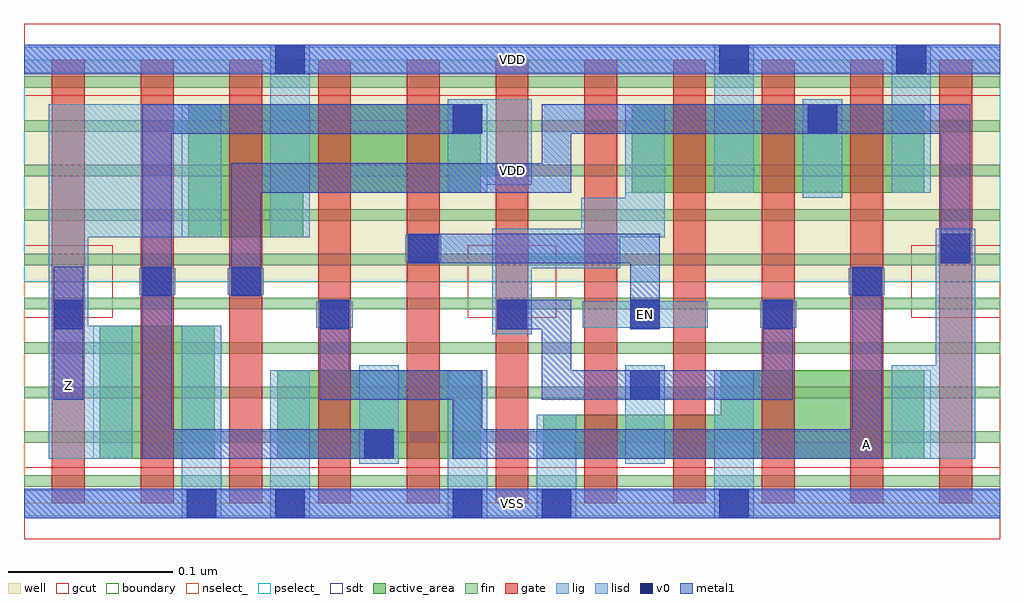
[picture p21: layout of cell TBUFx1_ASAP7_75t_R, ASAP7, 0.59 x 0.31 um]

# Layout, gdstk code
import gdstk
lib = gdstk.Library(unit=1e-6, precision=2.5e-10)
def R(c, l, rs):  # rectangles x0, y0, x1, y1
    for r in rs: c.add(gdstk.rectangle(r[:2], r[2:], *l))
def A(c, l, x, y, w, h, nx, ny, dx, dy):  # array of equal rectangles
    R(c, l, [(x+i*dx, y+j*dy, x+i*dx+w, y+j*dy+h) for i in range(nx) for j in range(ny)])
well = (1, 0)
fin = (2, 0)
gate = (7, 0)
gcut = (10, 0)
active_area = (11, 0)
nselect_ = (12, 0)
pselect_ = (13, 0)
lig = (16, 0)
lisd = (17, 0)
v0 = (18, 0)
metal1 = (19, 0)
sdt = (88, 0)
boundary = (100, 0)

tbufx1_asap7_75t_r = lib.new_cell('TBUFx1_ASAP7_75t_R')
R(tbufx1_asap7_75t_r, well, [(0,0.135,0.594,0.27)])
A(tbufx1_asap7_75t_r, fin, 0, 0.01, 0.594, 0.007, 1, 10, 0, 0.027)
A(tbufx1_asap7_75t_r, gate, 0.017, 0, 0.02, 0.27, 11, 1, 0.054, 0)
A(tbufx1_asap7_75t_r, gcut, 0, -0.022, 0.054, 0.044, 3, 3, 0.27, 0.135)
R(tbufx1_asap7_75t_r, gcut, [(0.054,-0.022,0.27,0.022), (0.324,-0.022,0.54,0.022), (0.054,0.248,0.27,0.292), (0.324,0.248,0.54,0.292)])
R(tbufx1_asap7_75t_r, active_area, [(0.046,0.027,0.1,0.108), (0.1,0.027,0.116,0.108), (0.154,0.027,0.17,0.081), (0.17,0.027,0.278,0.081), (0.316,0.027,0.37,0.054), (0.37,0.027,0.424,0.054), (0.424,0.027,0.548,0.081), (0.1,0.162,0.116,0.243), (0.116,0.162,0.154,0.243), (0.154,0.162,0.17,0.243), (0.17,0.189,0.278,0.243), (0.37,0.189,0.424,0.243), (0.424,0.189,0.548,0.243)])
R(tbufx1_asap7_75t_r, nselect_, [(0,0,0.594,0.135)])
R(tbufx1_asap7_75t_r, pselect_, [(0,0.135,0.594,0.27)])
A(tbufx1_asap7_75t_r, lig, 0.07, -0.008, 0.022, 0.016, 4, 2, 0.054, 0.27)
A(tbufx1_asap7_75t_r, lig, 0.092, -0.008, 0.032, 0.016, 3, 2, 0.054, 0.27)
A(tbufx1_asap7_75t_r, lig, 0.502, -0.008, 0.022, 0.016, 1, 3, 0, 0.135)
R(tbufx1_asap7_75t_r, lig, [(0,-0.008,0.07,0.008), (0.254,-0.008,0.34,0.008), (0.34,-0.008,0.416,0.008), (0.416,-0.008,0.448,0.008), (0.448,-0.008,0.47,0.008), (0.47,-0.008,0.502,0.008), (0.524,-0.008,0.594,0.008), (0.178,0.107,0.2,0.123), (0.34,0.107,0.416,0.123), (0.448,0.107,0.47,0.123), (0.07,0.127,0.092,0.143), (0.124,0.127,0.146,0.143), (0.232,0.147,0.254,0.163), (0,0.262,0.07,0.278), (0.254,0.262,0.34,0.278), (0.34,0.262,0.416,0.278), (0.416,0.262,0.448,0.278), (0.448,0.262,0.47,0.278), (0.47,0.262,0.502,0.278), (0.524,0.262,0.594,0.278)])
R(tbufx1_asap7_75t_r, lisd, [(0.096,-0.009,0.12,0.108), (0.15,-0.009,0.174,0.081), (0.258,-0.009,0.282,0.081), (0.312,-0.009,0.336,0.054), (0.42,-0.009,0.444,0.081), (0.204,0.024,0.228,0.084), (0.366,0.024,0.39,0.084), (0.015,0.027,0.039,0.243), (0.039,0.027,0.066,0.108), (0.528,0.027,0.552,0.084), (0.552,0.027,0.555,0.084), (0.555,0.027,0.579,0.167), (0.285,0.103,0.309,0.167), (0.309,0.143,0.312,0.167), (0.312,0.143,0.336,0.167), (0.336,0.143,0.339,0.167), (0.339,0.143,0.363,0.186), (0.039,0.162,0.066,0.243), (0.066,0.162,0.096,0.243), (0.096,0.162,0.12,0.243), (0.15,0.162,0.174,0.279), (0.363,0.162,0.366,0.186), (0.366,0.162,0.39,0.243), (0.474,0.186,0.498,0.246), (0.258,0.189,0.282,0.246), (0.42,0.189,0.444,0.279), (0.528,0.189,0.552,0.279), (0.282,0.194,0.285,0.246), (0.285,0.194,0.309,0.246)])
A(tbufx1_asap7_75t_r, v0, 0.288, 0.106, 0.018, 0.018, 3, 1, 0.081, 0)
R(tbufx1_asap7_75t_r, v0, [(0.099,-0.009,0.117,0.009), (0.153,-0.009,0.171,0.009), (0.261,-0.009,0.279,0.009), (0.315,-0.009,0.333,0.009), (0.423,-0.009,0.441,0.009), (0.207,0.027,0.225,0.045), (0.369,0.063,0.387,0.081), (0.018,0.106,0.036,0.124), (0.18,0.106,0.198,0.124), (0.072,0.126,0.09,0.144), (0.126,0.126,0.144,0.144), (0.504,0.126,0.522,0.144), (0.234,0.146,0.252,0.164), (0.558,0.146,0.576,0.164), (0.261,0.225,0.279,0.243), (0.477,0.225,0.495,0.243), (0.153,0.261,0.171,0.279), (0.423,0.261,0.441,0.279), (0.531,0.261,0.549,0.279)])
A(tbufx1_asap7_75t_r, metal1, 0.018, -0.009, 0.018, 0.018, 4, 2, 0.054, 0.27)
A(tbufx1_asap7_75t_r, metal1, 0.036, -0.009, 0.036, 0.018, 3, 2, 0.054, 0.27)
A(tbufx1_asap7_75t_r, metal1, 0.198, -0.009, 0.027, 0.018, 1, 3, 0, 0.036)
A(tbufx1_asap7_75t_r, metal1, 0.261, -0.009, 0.018, 0.018, 3, 2, 0.054, 0.27)
A(tbufx1_asap7_75t_r, metal1, 0.333, -0.009, 0.036, 0.018, 1, 3, 0, 0.036)
A(tbufx1_asap7_75t_r, metal1, 0.387, -0.009, 0.063, 0.018, 1, 3, 0, 0.036)
A(tbufx1_asap7_75t_r, metal1, 0.45, -0.009, 0.018, 0.018, 3, 2, 0.054, 0.27)
A(tbufx1_asap7_75t_r, metal1, 0.18, 0.063, 0.018, 0.061, 3, 1, 0.135, 0)
A(tbufx1_asap7_75t_r, metal1, 0.198, 0.189, 0.027, 0.018, 1, 3, 0, 0.036)
A(tbufx1_asap7_75t_r, metal1, 0.225, 0.189, 0.009, 0.018, 1, 3, 0, 0.036)
A(tbufx1_asap7_75t_r, metal1, 0.234, 0.189, 0.027, 0.018, 1, 3, 0, 0.036)
R(tbufx1_asap7_75t_r, metal1, [(0,-0.009,0.018,0.009), (0.225,-0.009,0.234,0.009), (0.234,-0.009,0.261,0.009), (0.279,-0.009,0.288,0.009), (0.288,-0.009,0.315,0.009), (0.468,-0.009,0.504,0.009), (0.522,-0.009,0.558,0.009), (0.576,-0.009,0.594,0.009), (0.072,0.027,0.09,0.243), (0.09,0.027,0.126,0.045), (0.126,0.027,0.144,0.045), (0.144,0.027,0.18,0.045), (0.18,0.027,0.198,0.045), (0.261,0.027,0.279,0.081), (0.279,0.027,0.288,0.045), (0.288,0.027,0.315,0.045), (0.315,0.027,0.333,0.045), (0.369,0.027,0.387,0.045), (0.45,0.027,0.468,0.045), (0.468,0.027,0.504,0.045), (0.504,0.027,0.522,0.144), (0.018,0.063,0.036,0.144), (0.225,0.063,0.234,0.081), (0.234,0.063,0.261,0.081), (0.369,0.063,0.387,0.081), (0.288,0.106,0.315,0.124), (0.369,0.106,0.387,0.164), (0.126,0.126,0.144,0.207), (0.234,0.146,0.261,0.164), (0.261,0.146,0.279,0.164), (0.279,0.146,0.288,0.164), (0.288,0.146,0.315,0.164), (0.315,0.146,0.333,0.164), (0.333,0.146,0.369,0.164), (0.558,0.146,0.576,0.243), (0.144,0.189,0.18,0.207), (0.18,0.189,0.198,0.207), (0.261,0.189,0.279,0.207), (0.279,0.189,0.288,0.207), (0.288,0.189,0.315,0.207), (0.315,0.189,0.333,0.243), (0.09,0.225,0.126,0.243), (0.126,0.225,0.144,0.243), (0.144,0.225,0.18,0.243), (0.18,0.225,0.198,0.243), (0.261,0.225,0.279,0.243), (0.333,0.225,0.369,0.243), (0.369,0.225,0.387,0.243), (0.387,0.225,0.45,0.243), (0.45,0.225,0.468,0.243), (0.468,0.225,0.504,0.243), (0.504,0.225,0.522,0.243), (0.522,0.225,0.558,0.243), (0,0.261,0.018,0.279), (0.279,0.261,0.288,0.279), (0.288,0.261,0.315,0.279), (0.333,0.261,0.369,0.279), (0.387,0.261,0.45,0.279), (0.468,0.261,0.504,0.279), (0.522,0.261,0.558,0.279), (0.576,0.261,0.594,0.279)])
A(tbufx1_asap7_75t_r, sdt, 0.15, 0.027, 0.024, 0.054, 3, 1, 0.054, 0)
A(tbufx1_asap7_75t_r, sdt, 0.366, 0.189, 0.024, 0.054, 4, 1, 0.054, 0)
R(tbufx1_asap7_75t_r, sdt, [(0.042,0.027,0.066,0.108), (0.096,0.027,0.12,0.108), (0.312,0.027,0.336,0.054), (0.366,0.027,0.39,0.054), (0.42,0.027,0.444,0.081), (0.528,0.027,0.552,0.081), (0.096,0.162,0.12,0.243), (0.15,0.162,0.174,0.243), (0.258,0.189,0.282,0.243)])
R(tbufx1_asap7_75t_r, boundary, [(0,0,0.594,0.27)])
tbufx1_asap7_75t_r.add(gdstk.Label('A', (0.513,0.036), layer=19, texttype=251))
tbufx1_asap7_75t_r.add(gdstk.Label('EN', (0.378,0.115), layer=19, texttype=251))
tbufx1_asap7_75t_r.add(gdstk.Label('Z', (0.027,0.072), layer=19, texttype=251))
tbufx1_asap7_75t_r.add(gdstk.Label('VSS', (0.297,0), layer=19, texttype=251))
tbufx1_asap7_75t_r.add(gdstk.Label('VSS', (0.297,0), layer=19, texttype=251))
tbufx1_asap7_75t_r.add(gdstk.Label('VDD', (0.297,0.27), layer=19, texttype=251))
tbufx1_asap7_75t_r.add(gdstk.Label('VDD', (0.297,0.27), layer=19, texttype=251))
tbufx1_asap7_75t_r.add(gdstk.Label('VDD', (0.297,0.2025), layer=1, texttype=251))
tbufx1_asap7_75t_r.add(gdstk.Label('VSS', (0.63,0.2025), layer=3, texttype=251))

lib.write_gds('TBUFx1_ASAP7_75t_R.gds')
